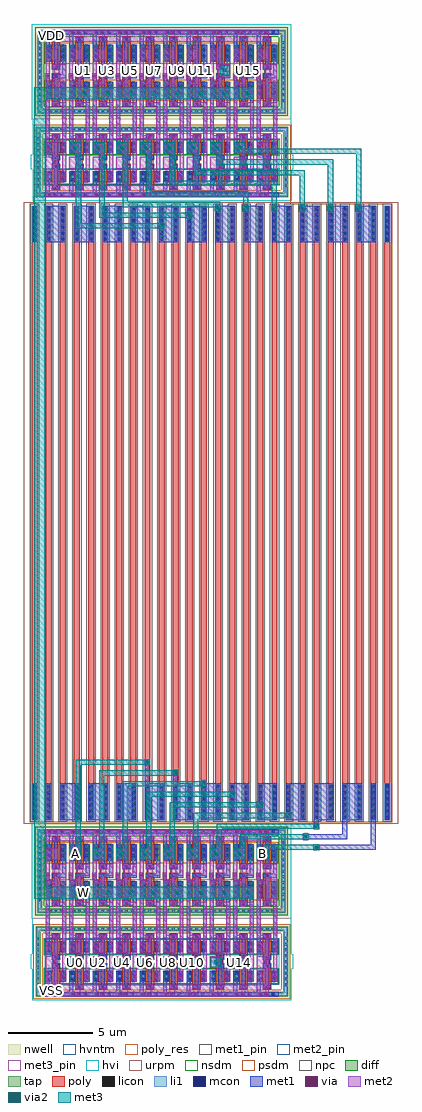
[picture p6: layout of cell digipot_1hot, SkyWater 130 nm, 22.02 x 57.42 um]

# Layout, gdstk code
import gdstk
lib = gdstk.Library(unit=1e-6, precision=1e-09)
def R(c, l, rs):  # rectangles x0, y0, x1, y1
    for r in rs: c.add(gdstk.rectangle(r[:2], r[2:], *l))
def A(c, l, x, y, w, h, nx, ny, dx, dy):  # array of equal rectangles
    R(c, l, [(x+i*dx, y+j*dy, x+i*dx+w, y+j*dy+h) for i in range(nx) for j in range(ny)])
nwell = (64, 20)
diff = (65, 20)
tap = (65, 44)
poly_res = (66, 13)
poly = (66, 20)
licon = (66, 44)
li1 = (67, 20)
mcon = (67, 44)
met1_pin = (68, 16)
met1 = (68, 20)
via = (68, 44)
met2_pin = (69, 16)
met2 = (69, 20)
via2 = (69, 44)
met3_pin = (70, 16)
met3 = (70, 20)
hvi = (75, 20)
urpm = (79, 20)
nsdm = (93, 44)
psdm = (94, 20)
npc = (95, 20)
hvntm = (125, 20)

sky130_fd_pr__res_xhigh_ = lib.new_cell('sky130_fd_pr__res_xhigh_po_0p35_EMC64D')
A(sky130_fd_pr__res_xhigh_, poly_res, -10.55, -16, 0.35, 32, 26, 1, 0.83, 0)
A(sky130_fd_pr__res_xhigh_, poly, -10.55, -18.08, 0.35, 36.16, 26, 1, 0.83, 0)
A(sky130_fd_pr__res_xhigh_, licon, -10.47, -18, 0.19, 2, 26, 2, 0.83, 34)
A(sky130_fd_pr__res_xhigh_, li1, -10.55, -18.08, 0.35, 2.16, 26, 2, 0.83, 34)
A(sky130_fd_pr__res_xhigh_, mcon, -10.46, -17.985, 0.17, 0.17, 26, 6, 0.83, 0.36)
A(sky130_fd_pr__res_xhigh_, mcon, -10.46, 16.01, 0.17, 0.17, 26, 6, 0.83, 0.36)
A(sky130_fd_pr__res_xhigh_, met1, -10.5, -18.05, 0.25, 2.105, 26, 2, 0.83, 33.995)
R(sky130_fd_pr__res_xhigh_, urpm, [(-11.01,-18.28,11.01,18.28)])
R(sky130_fd_pr__res_xhigh_, psdm, [(-10.66,-18.19,10.66,18.19)])
A(sky130_fd_pr__res_xhigh_, npc, -10.645, -18.175, 0.54, 36.35, 26, 1, 0.83, 0)

passgate = lib.new_cell('passgate')
R(passgate, met1, [(0.59,0.21,1.42,0.44), (0.59,0.44,1.28,0.47), (0.59,0.47,0.82,1.715), (1.075,0.775,1.305,1.965), (1.56,1.065,1.79,1.095), (1.47,1.095,1.79,1.685), (1.56,1.685,1.79,1.715), (0.96,1.965,1.305,2.555), (1.075,2.555,1.305,3.6), (0.59,2.805,0.82,2.835), (1.56,2.805,1.79,6.045), (0.59,2.835,0.91,3.425), (0.59,3.425,0.82,7.17), (0.96,3.6,1.42,3.86), (0.96,5.505,1.42,5.825), (1.075,5.825,1.305,7.19), (1.5,6.045,1.79,6.07), (1.47,6.07,1.79,6.66), (1.56,6.66,1.79,6.99), (0.56,7.17,0.82,7.49), (1.075,7.19,1.79,7.42), (1.56,7.42,1.79,9.17), (0.96,7.715,1.42,7.975), (1.075,7.975,1.305,9.5), (0.59,8.165,0.82,9.76), (0.59,9.76,1.28,9.79), (0.59,9.79,1.42,10.02)])
R(passgate, via, [(0.7,0.265,0.85,0.415), (1.02,0.265,1.17,0.415), (1.555,1.315,1.705,1.465), (1.045,2.185,1.195,2.335), (0.675,3.055,0.825,3.205), (1.115,3.655,1.265,3.805), (1.115,5.59,1.265,5.74), (1.555,6.29,1.705,6.44), (0.615,7.255,0.765,7.405), (1.115,7.77,1.265,7.92), (0.7,9.815,0.85,9.965), (1.02,9.815,1.17,9.965)])
R(passgate, met2_pin, [(0.59,0.21,1.28,0.9), (0.59,1.875,1.28,2.565), (0.59,2.735,1.28,3.425), (1.1,5.965,1.79,6.655), (0.59,9.33,1.28,10.02)])
R(passgate, met2, [(0.59,0.21,1.28,0.9), (1.47,1.065,1.79,1.715), (1.56,1.715,1.79,5.55), (0.59,1.875,1.28,2.565), (0.59,2.735,1.28,3.425), (0.96,3.57,1.42,3.615), (0.59,3.615,1.42,3.845), (0.59,3.845,0.82,6.8), (0.96,3.845,1.42,3.89), (0.96,5.505,1.42,5.55), (0.96,5.55,1.79,5.78), (0.96,5.78,1.42,5.825), (1.1,5.965,1.79,6.66), (0.59,6.8,1.305,7.03), (1.075,7.03,1.305,7.315), (0.56,7.17,0.82,7.49), (1.075,7.315,1.79,7.685), (0.59,7.49,0.82,8.245), (0.96,7.685,1.79,8.005), (0.59,8.245,1.28,8.935), (0.59,9.33,1.28,10.02)])
passgate.add(gdstk.Label('EN', (0.935,2.22), layer=69, texttype=5))
passgate.add(gdstk.Label('UA', (0.935,3.08), layer=69, texttype=5))
passgate.add(gdstk.Label('UB', (1.445,6.31), layer=69, texttype=5))
passgate.add(gdstk.Label('VDD', (0.935,9.675), layer=69, texttype=5))
passgate.add(gdstk.Label('VSS', (0.935,0.555), layer=69, texttype=5))

transistor_quartet_bus10 = lib.new_cell('transistor_quartet_bus10')
R(transistor_quartet_bus10, nwell, [(0,4.77,15.28,10.38)])
A(transistor_quartet_bus10, diff, 0.89, 1.065, 1.08, 0.65, 10, 2, 1.38, 1.74)
A(transistor_quartet_bus10, diff, 0.89, 5.985, 1.08, 1, 10, 2, 1.38, 2.18)
R(transistor_quartet_bus10, tap, [(0.23,0.18,15.1,0.47), (0.23,0.47,0.52,4.05), (14.81,0.47,15.1,4.05), (0.23,4.05,15.1,4.34), (0.33,5.1,14.95,5.39), (0.33,5.39,0.62,9.76), (14.66,5.39,14.95,9.76), (0.33,9.76,14.95,10.05)])
A(transistor_quartet_bus10, poly, 1.18, 0.625, 0.5, 1.53, 10, 2, 1.38, 1.74)
A(transistor_quartet_bus10, poly, 1.18, 5.5, 0.5, 1.97, 10, 2, 1.38, 2.18)
A(transistor_quartet_bus10, licon, 1.005, 0.24, 0.17, 0.17, 3, 2, 0.34, 3.87)
A(transistor_quartet_bus10, licon, 2.385, 0.24, 0.17, 0.17, 3, 2, 0.34, 3.87)
A(transistor_quartet_bus10, licon, 3.765, 0.24, 0.17, 0.17, 3, 2, 0.34, 3.87)
A(transistor_quartet_bus10, licon, 5.145, 0.24, 0.17, 0.17, 3, 2, 0.34, 3.87)
A(transistor_quartet_bus10, licon, 6.525, 0.24, 0.17, 0.17, 3, 2, 0.34, 3.87)
A(transistor_quartet_bus10, licon, 7.905, 0.24, 0.17, 0.17, 3, 2, 0.34, 3.87)
A(transistor_quartet_bus10, licon, 9.285, 0.24, 0.17, 0.17, 3, 2, 0.34, 3.87)
A(transistor_quartet_bus10, licon, 10.665, 0.24, 0.17, 0.17, 3, 2, 0.34, 3.87)
A(transistor_quartet_bus10, licon, 12.045, 0.24, 0.17, 0.17, 3, 2, 0.34, 3.87)
A(transistor_quartet_bus10, licon, 13.425, 0.24, 0.17, 0.17, 3, 2, 0.34, 3.87)
A(transistor_quartet_bus10, licon, 1.345, 0.705, 0.17, 0.17, 10, 2, 1.38, 1.2)
A(transistor_quartet_bus10, licon, 0.29, 0.815, 0.17, 0.17, 1, 9, 0, 0.34)
A(transistor_quartet_bus10, licon, 14.87, 0.815, 0.17, 0.17, 1, 9, 0, 0.34)
A(transistor_quartet_bus10, licon, 1.345, 2.445, 0.17, 0.17, 10, 2, 1.38, 1.2)
A(transistor_quartet_bus10, licon, 1.005, 5.16, 0.17, 0.17, 3, 2, 0.34, 4.66)
A(transistor_quartet_bus10, licon, 2.385, 5.16, 0.17, 0.17, 3, 2, 0.34, 4.66)
A(transistor_quartet_bus10, licon, 3.765, 5.16, 0.17, 0.17, 3, 2, 0.34, 4.66)
A(transistor_quartet_bus10, licon, 5.145, 5.16, 0.17, 0.17, 3, 2, 0.34, 4.66)
A(transistor_quartet_bus10, licon, 6.525, 5.16, 0.17, 0.17, 3, 2, 0.34, 4.66)
A(transistor_quartet_bus10, licon, 7.905, 5.16, 0.17, 0.17, 3, 2, 0.34, 4.66)
A(transistor_quartet_bus10, licon, 9.285, 5.16, 0.17, 0.17, 3, 2, 0.34, 4.66)
A(transistor_quartet_bus10, licon, 10.665, 5.16, 0.17, 0.17, 3, 2, 0.34, 4.66)
A(transistor_quartet_bus10, licon, 12.045, 5.16, 0.17, 0.17, 3, 2, 0.34, 4.66)
A(transistor_quartet_bus10, licon, 13.425, 5.16, 0.17, 0.17, 3, 2, 0.34, 4.66)
A(transistor_quartet_bus10, licon, 1.345, 5.58, 0.17, 0.17, 10, 2, 1.38, 1.64)
A(transistor_quartet_bus10, licon, 0.39, 5.79, 0.17, 0.17, 1, 11, 0, 0.34)
A(transistor_quartet_bus10, licon, 14.72, 5.79, 0.17, 0.17, 1, 11, 0, 0.34)
A(transistor_quartet_bus10, licon, 0.95, 6.06, 0.17, 0.17, 1, 3, 0, 0.34)
A(transistor_quartet_bus10, licon, 1.74, 6.06, 0.17, 0.17, 1, 3, 0, 0.34)
A(transistor_quartet_bus10, licon, 2.33, 6.06, 0.17, 0.17, 1, 3, 0, 0.34)
A(transistor_quartet_bus10, licon, 3.12, 6.06, 0.17, 0.17, 1, 3, 0, 0.34)
A(transistor_quartet_bus10, licon, 3.71, 6.06, 0.17, 0.17, 1, 3, 0, 0.34)
A(transistor_quartet_bus10, licon, 4.5, 6.06, 0.17, 0.17, 1, 3, 0, 0.34)
A(transistor_quartet_bus10, licon, 5.09, 6.06, 0.17, 0.17, 1, 3, 0, 0.34)
A(transistor_quartet_bus10, licon, 5.88, 6.06, 0.17, 0.17, 1, 3, 0, 0.34)
A(transistor_quartet_bus10, licon, 6.47, 6.06, 0.17, 0.17, 1, 3, 0, 0.34)
A(transistor_quartet_bus10, licon, 7.26, 6.06, 0.17, 0.17, 1, 3, 0, 0.34)
A(transistor_quartet_bus10, licon, 7.85, 6.06, 0.17, 0.17, 1, 3, 0, 0.34)
A(transistor_quartet_bus10, licon, 8.64, 6.06, 0.17, 0.17, 1, 3, 0, 0.34)
A(transistor_quartet_bus10, licon, 9.23, 6.06, 0.17, 0.17, 1, 3, 0, 0.34)
A(transistor_quartet_bus10, licon, 10.02, 6.06, 0.17, 0.17, 1, 3, 0, 0.34)
A(transistor_quartet_bus10, licon, 10.61, 6.06, 0.17, 0.17, 1, 3, 0, 0.34)
A(transistor_quartet_bus10, licon, 11.4, 6.06, 0.17, 0.17, 1, 3, 0, 0.34)
A(transistor_quartet_bus10, licon, 11.99, 6.06, 0.17, 0.17, 1, 3, 0, 0.34)
A(transistor_quartet_bus10, licon, 12.78, 6.06, 0.17, 0.17, 1, 3, 0, 0.34)
A(transistor_quartet_bus10, licon, 13.37, 6.06, 0.17, 0.17, 1, 3, 0, 0.34)
A(transistor_quartet_bus10, licon, 14.16, 6.06, 0.17, 0.17, 1, 3, 0, 0.34)
A(transistor_quartet_bus10, licon, 1.345, 7.76, 0.17, 0.17, 10, 2, 1.38, 1.64)
A(transistor_quartet_bus10, licon, 0.95, 8.24, 0.17, 0.17, 1, 3, 0, 0.34)
A(transistor_quartet_bus10, licon, 1.74, 8.24, 0.17, 0.17, 1, 3, 0, 0.34)
A(transistor_quartet_bus10, licon, 2.33, 8.24, 0.17, 0.17, 1, 3, 0, 0.34)
A(transistor_quartet_bus10, licon, 3.12, 8.24, 0.17, 0.17, 1, 3, 0, 0.34)
A(transistor_quartet_bus10, licon, 3.71, 8.24, 0.17, 0.17, 1, 3, 0, 0.34)
A(transistor_quartet_bus10, licon, 4.5, 8.24, 0.17, 0.17, 1, 3, 0, 0.34)
A(transistor_quartet_bus10, licon, 5.09, 8.24, 0.17, 0.17, 1, 3, 0, 0.34)
A(transistor_quartet_bus10, licon, 5.88, 8.24, 0.17, 0.17, 1, 3, 0, 0.34)
A(transistor_quartet_bus10, licon, 6.47, 8.24, 0.17, 0.17, 1, 3, 0, 0.34)
A(transistor_quartet_bus10, licon, 7.26, 8.24, 0.17, 0.17, 1, 3, 0, 0.34)
A(transistor_quartet_bus10, licon, 7.85, 8.24, 0.17, 0.17, 1, 3, 0, 0.34)
A(transistor_quartet_bus10, licon, 8.64, 8.24, 0.17, 0.17, 1, 3, 0, 0.34)
A(transistor_quartet_bus10, licon, 9.23, 8.24, 0.17, 0.17, 1, 3, 0, 0.34)
A(transistor_quartet_bus10, licon, 10.02, 8.24, 0.17, 0.17, 1, 3, 0, 0.34)
A(transistor_quartet_bus10, licon, 10.61, 8.24, 0.17, 0.17, 1, 3, 0, 0.34)
A(transistor_quartet_bus10, licon, 11.4, 8.24, 0.17, 0.17, 1, 3, 0, 0.34)
A(transistor_quartet_bus10, licon, 11.99, 8.24, 0.17, 0.17, 1, 3, 0, 0.34)
A(transistor_quartet_bus10, licon, 12.78, 8.24, 0.17, 0.17, 1, 3, 0, 0.34)
A(transistor_quartet_bus10, licon, 13.37, 8.24, 0.17, 0.17, 1, 3, 0, 0.34)
A(transistor_quartet_bus10, licon, 14.16, 8.24, 0.17, 0.17, 1, 3, 0, 0.34)
R(transistor_quartet_bus10, licon, [(0.95,1.135,1.12,1.305), (1.74,1.135,1.91,1.305), (2.33,1.135,2.5,1.305), (3.12,1.135,3.29,1.305), (3.71,1.135,3.88,1.305), (4.5,1.135,4.67,1.305), (5.09,1.135,5.26,1.305), (5.88,1.135,6.05,1.305), (6.47,1.135,6.64,1.305), (7.26,1.135,7.43,1.305), (7.85,1.135,8.02,1.305), (8.64,1.135,8.81,1.305), (9.23,1.135,9.4,1.305), (10.02,1.135,10.19,1.305), (10.61,1.135,10.78,1.305), (11.4,1.135,11.57,1.305), (11.99,1.135,12.16,1.305), (12.78,1.135,12.95,1.305), (13.37,1.135,13.54,1.305), (14.16,1.135,14.33,1.305), (0.95,1.475,1.12,1.645), (1.74,1.475,1.91,1.645), (2.33,1.475,2.5,1.645), (3.12,1.475,3.29,1.645), (3.71,1.475,3.88,1.645), (4.5,1.475,4.67,1.645), (5.09,1.475,5.26,1.645), (5.88,1.475,6.05,1.645), (6.47,1.475,6.64,1.645), (7.26,1.475,7.43,1.645), (7.85,1.475,8.02,1.645), (8.64,1.475,8.81,1.645), (9.23,1.475,9.4,1.645), (10.02,1.475,10.19,1.645), (10.61,1.475,10.78,1.645), (11.4,1.475,11.57,1.645), (11.99,1.475,12.16,1.645), (12.78,1.475,12.95,1.645), (13.37,1.475,13.54,1.645), (14.16,1.475,14.33,1.645), (0.95,2.875,1.12,3.045), (1.74,2.875,1.91,3.045), (2.33,2.875,2.5,3.045), (3.12,2.875,3.29,3.045), (3.71,2.875,3.88,3.045), (4.5,2.875,4.67,3.045), (5.09,2.875,5.26,3.045), (5.88,2.875,6.05,3.045), (6.47,2.875,6.64,3.045), (7.26,2.875,7.43,3.045), (7.85,2.875,8.02,3.045), (8.64,2.875,8.81,3.045), (9.23,2.875,9.4,3.045), (10.02,2.875,10.19,3.045), (10.61,2.875,10.78,3.045), (11.4,2.875,11.57,3.045), (11.99,2.875,12.16,3.045), (12.78,2.875,12.95,3.045), (13.37,2.875,13.54,3.045), (14.16,2.875,14.33,3.045), (0.95,3.215,1.12,3.385), (1.74,3.215,1.91,3.385), (2.33,3.215,2.5,3.385), (3.12,3.215,3.29,3.385), (3.71,3.215,3.88,3.385), (4.5,3.215,4.67,3.385), (5.09,3.215,5.26,3.385), (5.88,3.215,6.05,3.385), (6.47,3.215,6.64,3.385), (7.26,3.215,7.43,3.385), (7.85,3.215,8.02,3.385), (8.64,3.215,8.81,3.385), (9.23,3.215,9.4,3.385), (10.02,3.215,10.19,3.385), (10.61,3.215,10.78,3.385), (11.4,3.215,11.57,3.385), (11.99,3.215,12.16,3.385), (12.78,3.215,12.95,3.385), (13.37,3.215,13.54,3.385), (14.16,3.215,14.33,3.385)])
A(transistor_quartet_bus10, li1, 1.18, 0.705, 0.5, 0.17, 10, 2, 1.38, 1.2)
A(transistor_quartet_bus10, li1, 1.18, 2.445, 0.5, 0.17, 10, 2, 1.38, 1.2)
A(transistor_quartet_bus10, li1, 1.18, 5.58, 0.5, 0.17, 10, 2, 1.38, 1.64)
A(transistor_quartet_bus10, li1, 1.18, 7.76, 0.5, 0.17, 10, 2, 1.38, 1.64)
R(transistor_quartet_bus10, li1, [(0.29,0.24,15.04,0.41), (0.29,0.41,0.46,4.11), (14.87,0.41,15.04,4.11), (0.95,1.045,1.12,1.735), (1.74,1.045,1.91,1.735), (2.33,1.045,2.5,1.735), (3.12,1.045,3.29,1.735), (3.71,1.045,3.88,1.735), (4.5,1.045,4.67,1.735), (5.09,1.045,5.26,1.735), (5.88,1.045,6.05,1.735), (6.47,1.045,6.64,1.735), (7.26,1.045,7.43,1.735), (7.85,1.045,8.02,1.735), (8.64,1.045,8.81,1.735), (9.23,1.045,9.4,1.735), (10.02,1.045,10.19,1.735), (10.61,1.045,10.78,1.735), (11.4,1.045,11.57,1.735), (11.99,1.045,12.16,1.735), (12.78,1.045,12.95,1.735), (13.37,1.045,13.54,1.735), (14.16,1.045,14.33,1.735), (0.95,2.785,1.12,3.475), (1.74,2.785,1.91,3.475), (2.33,2.785,2.5,3.475), (3.12,2.785,3.29,3.475), (3.71,2.785,3.88,3.475), (4.5,2.785,4.67,3.475), (5.09,2.785,5.26,3.475), (5.88,2.785,6.05,3.475), (6.47,2.785,6.64,3.475), (7.26,2.785,7.43,3.475), (7.85,2.785,8.02,3.475), (8.64,2.785,8.81,3.475), (9.23,2.785,9.4,3.475), (10.02,2.785,10.19,3.475), (10.61,2.785,10.78,3.475), (11.4,2.785,11.57,3.475), (11.99,2.785,12.16,3.475), (12.78,2.785,12.95,3.475), (13.37,2.785,13.54,3.475), (14.16,2.785,14.33,3.475), (0.29,4.11,15.04,4.28), (0.39,5.16,14.89,5.33), (0.39,5.33,0.56,9.82), (14.72,5.33,14.89,9.82), (0.95,5.965,1.12,7.005), (1.74,5.965,1.91,7.005), (2.33,5.965,2.5,7.005), (3.12,5.965,3.29,7.005), (3.71,5.965,3.88,7.005), (4.5,5.965,4.67,7.005), (5.09,5.965,5.26,7.005), (5.88,5.965,6.05,7.005), (6.47,5.965,6.64,7.005), (7.26,5.965,7.43,7.005), (7.85,5.965,8.02,7.005), (8.64,5.965,8.81,7.005), (9.23,5.965,9.4,7.005), (10.02,5.965,10.19,7.005), (10.61,5.965,10.78,7.005), (11.4,5.965,11.57,7.005), (11.99,5.965,12.16,7.005), (12.78,5.965,12.95,7.005), (13.37,5.965,13.54,7.005), (14.16,5.965,14.33,7.005), (0.95,8.145,1.12,9.185), (1.74,8.145,1.91,9.185), (2.33,8.145,2.5,9.185), (3.12,8.145,3.29,9.185), (3.71,8.145,3.88,9.185), (4.5,8.145,4.67,9.185), (5.09,8.145,5.26,9.185), (5.88,8.145,6.05,9.185), (6.47,8.145,6.64,9.185), (7.26,8.145,7.43,9.185), (7.85,8.145,8.02,9.185), (8.64,8.145,8.81,9.185), (9.23,8.145,9.4,9.185), (10.02,8.145,10.19,9.185), (10.61,8.145,10.78,9.185), (11.4,8.145,11.57,9.185), (11.99,8.145,12.16,9.185), (12.78,8.145,12.95,9.185), (13.37,8.145,13.54,9.185), (14.16,8.145,14.33,9.185), (0.39,9.82,14.89,9.99)])
A(transistor_quartet_bus10, mcon, 0.985, 0.24, 0.17, 0.17, 3, 2, 0.36, 9.58)
A(transistor_quartet_bus10, mcon, 2.365, 0.24, 0.17, 0.17, 3, 2, 0.36, 9.58)
A(transistor_quartet_bus10, mcon, 3.745, 0.24, 0.17, 0.17, 3, 2, 0.36, 9.58)
A(transistor_quartet_bus10, mcon, 5.125, 0.24, 0.17, 0.17, 3, 2, 0.36, 9.58)
A(transistor_quartet_bus10, mcon, 6.505, 0.24, 0.17, 0.17, 3, 2, 0.36, 9.58)
A(transistor_quartet_bus10, mcon, 7.885, 0.24, 0.17, 0.17, 3, 2, 0.36, 9.58)
A(transistor_quartet_bus10, mcon, 9.265, 0.24, 0.17, 0.17, 3, 2, 0.36, 9.58)
A(transistor_quartet_bus10, mcon, 10.645, 0.24, 0.17, 0.17, 3, 2, 0.36, 9.58)
A(transistor_quartet_bus10, mcon, 12.025, 0.24, 0.17, 0.17, 3, 2, 0.36, 9.58)
A(transistor_quartet_bus10, mcon, 13.405, 0.24, 0.17, 0.17, 3, 2, 0.36, 9.58)
A(transistor_quartet_bus10, mcon, 1.345, 0.705, 0.17, 0.17, 10, 2, 1.38, 1.2)
A(transistor_quartet_bus10, mcon, 1.345, 2.445, 0.17, 0.17, 10, 2, 1.38, 1.2)
A(transistor_quartet_bus10, mcon, 1.345, 5.58, 0.17, 0.17, 10, 2, 1.38, 1.64)
A(transistor_quartet_bus10, mcon, 1.345, 7.76, 0.17, 0.17, 10, 2, 1.38, 1.64)
R(transistor_quartet_bus10, mcon, [(0.95,1.125,1.12,1.295), (1.74,1.125,1.91,1.295), (2.33,1.125,2.5,1.295), (3.12,1.125,3.29,1.295), (3.71,1.125,3.88,1.295), (4.5,1.125,4.67,1.295), (5.09,1.125,5.26,1.295), (5.88,1.125,6.05,1.295), (6.47,1.125,6.64,1.295), (7.26,1.125,7.43,1.295), (7.85,1.125,8.02,1.295), (8.64,1.125,8.81,1.295), (9.23,1.125,9.4,1.295), (10.02,1.125,10.19,1.295), (10.61,1.125,10.78,1.295), (11.4,1.125,11.57,1.295), (11.99,1.125,12.16,1.295), (12.78,1.125,12.95,1.295), (13.37,1.125,13.54,1.295), (14.16,1.125,14.33,1.295), (0.95,1.485,1.12,1.655), (1.74,1.485,1.91,1.655), (2.33,1.485,2.5,1.655), (3.12,1.485,3.29,1.655), (3.71,1.485,3.88,1.655), (4.5,1.485,4.67,1.655), (5.09,1.485,5.26,1.655), (5.88,1.485,6.05,1.655), (6.47,1.485,6.64,1.655), (7.26,1.485,7.43,1.655), (7.85,1.485,8.02,1.655), (8.64,1.485,8.81,1.655), (9.23,1.485,9.4,1.655), (10.02,1.485,10.19,1.655), (10.61,1.485,10.78,1.655), (11.4,1.485,11.57,1.655), (11.99,1.485,12.16,1.655), (12.78,1.485,12.95,1.655), (13.37,1.485,13.54,1.655), (14.16,1.485,14.33,1.655), (0.95,2.865,1.12,3.035), (1.74,2.865,1.91,3.035), (2.33,2.865,2.5,3.035), (3.12,2.865,3.29,3.035), (3.71,2.865,3.88,3.035), (4.5,2.865,4.67,3.035), (5.09,2.865,5.26,3.035), (5.88,2.865,6.05,3.035), (6.47,2.865,6.64,3.035), (7.26,2.865,7.43,3.035), (7.85,2.865,8.02,3.035), (8.64,2.865,8.81,3.035), (9.23,2.865,9.4,3.035), (10.02,2.865,10.19,3.035), (10.61,2.865,10.78,3.035), (11.4,2.865,11.57,3.035), (11.99,2.865,12.16,3.035), (12.78,2.865,12.95,3.035), (13.37,2.865,13.54,3.035), (14.16,2.865,14.33,3.035), (0.95,3.225,1.12,3.395), (1.74,3.225,1.91,3.395), (2.33,3.225,2.5,3.395), (3.12,3.225,3.29,3.395), (3.71,3.225,3.88,3.395), (4.5,3.225,4.67,3.395), (5.09,3.225,5.26,3.395), (5.88,3.225,6.05,3.395), (6.47,3.225,6.64,3.395), (7.26,3.225,7.43,3.395), (7.85,3.225,8.02,3.395), (8.64,3.225,8.81,3.395), (9.23,3.225,9.4,3.395), (10.02,3.225,10.19,3.395), (10.61,3.225,10.78,3.395), (11.4,3.225,11.57,3.395), (11.99,3.225,12.16,3.395), (12.78,3.225,12.95,3.395), (13.37,3.225,13.54,3.395), (14.16,3.225,14.33,3.395), (0.95,6.22,1.12,6.39), (1.74,6.22,1.91,6.39), (2.33,6.22,2.5,6.39), (3.12,6.22,3.29,6.39), (3.71,6.22,3.88,6.39), (4.5,6.22,4.67,6.39), (5.09,6.22,5.26,6.39), (5.88,6.22,6.05,6.39), (6.47,6.22,6.64,6.39), (7.26,6.22,7.43,6.39), (7.85,6.22,8.02,6.39), (8.64,6.22,8.81,6.39), (9.23,6.22,9.4,6.39), (10.02,6.22,10.19,6.39), (10.61,6.22,10.78,6.39), (11.4,6.22,11.57,6.39), (11.99,6.22,12.16,6.39), (12.78,6.22,12.95,6.39), (13.37,6.22,13.54,6.39), (14.16,6.22,14.33,6.39), (0.95,6.58,1.12,6.75), (1.74,6.58,1.91,6.75), (2.33,6.58,2.5,6.75), (3.12,6.58,3.29,6.75), (3.71,6.58,3.88,6.75), (4.5,6.58,4.67,6.75), (5.09,6.58,5.26,6.75), (5.88,6.58,6.05,6.75), (6.47,6.58,6.64,6.75), (7.26,6.58,7.43,6.75), (7.85,6.58,8.02,6.75), (8.64,6.58,8.81,6.75), (9.23,6.58,9.4,6.75), (10.02,6.58,10.19,6.75), (10.61,6.58,10.78,6.75), (11.4,6.58,11.57,6.75), (11.99,6.58,12.16,6.75), (12.78,6.58,12.95,6.75), (13.37,6.58,13.54,6.75), (14.16,6.58,14.33,6.75), (0.95,8.4,1.12,8.57), (1.74,8.4,1.91,8.57), (2.33,8.4,2.5,8.57), (3.12,8.4,3.29,8.57), (3.71,8.4,3.88,8.57), (4.5,8.4,4.67,8.57), (5.09,8.4,5.26,8.57), (5.88,8.4,6.05,8.57), (6.47,8.4,6.64,8.57), (7.26,8.4,7.43,8.57), (7.85,8.4,8.02,8.57), (8.64,8.4,8.81,8.57), (9.23,8.4,9.4,8.57), (10.02,8.4,10.19,8.57), (10.61,8.4,10.78,8.57), (11.4,8.4,11.57,8.57), (11.99,8.4,12.16,8.57), (12.78,8.4,12.95,8.57), (13.37,8.4,13.54,8.57), (14.16,8.4,14.33,8.57), (0.95,8.76,1.12,8.93), (1.74,8.76,1.91,8.93), (2.33,8.76,2.5,8.93), (3.12,8.76,3.29,8.93), (3.71,8.76,3.88,8.93), (4.5,8.76,4.67,8.93), (5.09,8.76,5.26,8.93), (5.88,8.76,6.05,8.93), (6.47,8.76,6.64,8.93), (7.26,8.76,7.43,8.93), (7.85,8.76,8.02,8.93), (8.64,8.76,8.81,8.93), (9.23,8.76,9.4,8.93), (10.02,8.76,10.19,8.93), (10.61,8.76,10.78,8.93), (11.4,8.76,11.57,8.93), (11.99,8.76,12.16,8.93), (12.78,8.76,12.95,8.93), (13.37,8.76,13.54,8.93), (14.16,8.76,14.33,8.93)])
R(transistor_quartet_bus10, met1_pin, [(0.74,0.18,14.54,0.47), (0.74,9.76,14.54,10.05)])
A(transistor_quartet_bus10, met1, 1.2, 0.675, 0.46, 0.23, 10, 2, 1.38, 1.2)
A(transistor_quartet_bus10, met1, 1.345, 0.905, 0.17, 0.97, 10, 2, 1.38, 1.74)
A(transistor_quartet_bus10, met1, 1.2, 2.415, 0.46, 0.23, 10, 2, 1.38, 1.2)
A(transistor_quartet_bus10, met1, 1.2, 5.55, 0.46, 0.23, 10, 2, 1.38, 1.64)
A(transistor_quartet_bus10, met1, 1.345, 5.78, 0.17, 1.41, 10, 2, 1.38, 2.18)
A(transistor_quartet_bus10, met1, 1.2, 7.73, 0.46, 0.23, 10, 2, 1.38, 1.64)
R(transistor_quartet_bus10, met1, [(0.74,0.18,14.54,0.47), (0.92,1.065,1.15,1.715), (1.71,1.065,1.94,1.715), (2.3,1.065,2.53,1.715), (3.09,1.065,3.32,1.715), (3.68,1.065,3.91,1.715), (4.47,1.065,4.7,1.715), (5.06,1.065,5.29,1.715), (5.85,1.065,6.08,1.715), (6.44,1.065,6.67,1.715), (7.23,1.065,7.46,1.715), (7.82,1.065,8.05,1.715), (8.61,1.065,8.84,1.715), (9.2,1.065,9.43,1.715), (9.99,1.065,10.22,1.715), (10.58,1.065,10.81,1.715), (11.37,1.065,11.6,1.715), (11.96,1.065,12.19,1.715), (12.75,1.065,12.98,1.715), (13.34,1.065,13.57,1.715), (14.13,1.065,14.36,1.715), (0.92,2.805,1.15,3.455), (1.71,2.805,1.94,3.455), (2.3,2.805,2.53,3.455), (3.09,2.805,3.32,3.455), (3.68,2.805,3.91,3.455), (4.47,2.805,4.7,3.455), (5.06,2.805,5.29,3.455), (5.85,2.805,6.08,3.455), (6.44,2.805,6.67,3.455), (7.23,2.805,7.46,3.455), (7.82,2.805,8.05,3.455), (8.61,2.805,8.84,3.455), (9.2,2.805,9.43,3.455), (9.99,2.805,10.22,3.455), (10.58,2.805,10.81,3.455), (11.37,2.805,11.6,3.455), (11.96,2.805,12.19,3.455), (12.75,2.805,12.98,3.455), (13.34,2.805,13.57,3.455), (14.13,2.805,14.36,3.455), (0.92,5.985,1.15,6.985), (1.71,5.985,1.94,6.985), (2.3,5.985,2.53,6.985), (3.09,5.985,3.32,6.985), (3.68,5.985,3.91,6.985), (4.47,5.985,4.7,6.985), (5.06,5.985,5.29,6.985), (5.85,5.985,6.08,6.985), (6.44,5.985,6.67,6.985), (7.23,5.985,7.46,6.985), (7.82,5.985,8.05,6.985), (8.61,5.985,8.84,6.985), (9.2,5.985,9.43,6.985), (9.99,5.985,10.22,6.985), (10.58,5.985,10.81,6.985), (11.37,5.985,11.6,6.985), (11.96,5.985,12.19,6.985), (12.75,5.985,12.98,6.985), (13.34,5.985,13.57,6.985), (14.13,5.985,14.36,6.985), (0.92,8.165,1.15,9.165), (1.71,8.165,1.94,9.165), (2.3,8.165,2.53,9.165), (3.09,8.165,3.32,9.165), (3.68,8.165,3.91,9.165), (4.47,8.165,4.7,9.165), (5.06,8.165,5.29,9.165), (5.85,8.165,6.08,9.165), (6.44,8.165,6.67,9.165), (7.23,8.165,7.46,9.165), (7.82,8.165,8.05,9.165), (8.61,8.165,8.84,9.165), (9.2,8.165,9.43,9.165), (9.99,8.165,10.22,9.165), (10.58,8.165,10.81,9.165), (11.37,8.165,11.6,9.165), (11.96,8.165,12.19,9.165), (12.75,8.165,12.98,9.165), (13.34,8.165,13.57,9.165), (14.13,8.165,14.36,9.165), (0.74,9.76,14.54,10.05)])
R(transistor_quartet_bus10, hvi, [(0.045,-0.005,15.285,1.84), (-0.045,1.84,15.375,1.9), (-0.045,1.9,0.795,2.62), (14.535,1.9,15.375,2.62), (-0.045,2.62,15.375,2.68), (0.045,2.68,15.285,4.525), (0.045,4.525,15.28,4.77), (0,4.77,15.28,10.38)])
R(transistor_quartet_bus10, nsdm, [(0.765,0.94,14.515,1.84), (0.765,2.68,14.515,3.58), (0.205,4.975,15.075,5.515), (0.205,5.515,0.745,9.635), (14.535,5.515,15.075,9.635), (0.205,9.635,15.075,10.175)])
R(transistor_quartet_bus10, psdm, [(0.105,0.055,15.225,0.595), (0.105,0.595,0.645,3.925), (14.685,0.595,15.225,3.925), (0.105,3.925,15.225,4.465), (0.765,5.86,14.515,7.11), (0.765,8.04,14.515,9.29)])
A(transistor_quartet_bus10, npc, 1.245, 0.605, 0.37, 0.37, 10, 2, 1.38, 2.94)
A(transistor_quartet_bus10, npc, 1.245, 1.805, 0.37, 0.91, 10, 2, 1.38, 5.315)
A(transistor_quartet_bus10, npc, 1.245, 5.48, 0.37, 0.37, 10, 2, 1.38, 3.82)
R(transistor_quartet_bus10, hvntm, [(0.705,0.88,14.575,1.9), (0.705,2.62,14.575,3.64)])
transistor_quartet_bus10.add(gdstk.Label('VSS', (7.64,0.325), layer=68, texttype=5))
transistor_quartet_bus10.add(gdstk.Label('VDD', (7.64,9.905), layer=68, texttype=5))

passgates = lib.new_cell('passgates')
A(passgates, met2, 2.26, 2.785, 0.59, 0.59, 8, 1, 1.38, 0)
A(passgates, met2, 2.77, 6.015, 0.59, 0.59, 8, 1, 1.38, 0)
R(passgates, met2, [(0.83,0.21,13.94,0.9), (0.83,0.9,1.52,3.425), (13.25,0.9,13.94,3.425), (1.34,5.965,2.03,8.005), (13.76,5.965,14.45,8.005), (0.83,9.33,13.94,10.02)])
A(passgates, via2, 2.965, 6.21, 0.2, 0.2, 8, 1, 1.38, 0)
A(passgates, met3, 3.11, 5.96, 0.3, 0.005, 8, 1, 1.38, 0)
R(passgates, met3, [(2.72,5.965,13.07,6.655)])
passgates.add(gdstk.Reference(passgate, (1.62,0)))
passgates.add(gdstk.Reference(passgate, (3,0)))
passgates.add(gdstk.Reference(passgate, (4.38,0)))
passgates.add(gdstk.Reference(passgate, (5.76,0)))
passgates.add(gdstk.Reference(passgate, (0.24,0)))
passgates.add(gdstk.Reference(passgate, (7.14,0)))
passgates.add(gdstk.Reference(passgate, (8.52,0)))
passgates.add(gdstk.Reference(passgate, (9.9,0)))
passgates.add(gdstk.Reference(passgate, (11.28,0)))
passgates.add(gdstk.Reference(passgate, (12.66,0)))
passgates.add(gdstk.Reference(transistor_quartet_bus10, (0,0)))

digipot_1hot = lib.new_cell('digipot_1hot')
A(digipot_1hot, met1, 2.21, 10.575, 1.18, 2.16, 11, 1, 1.66, 0)
A(digipot_1hot, met1, 1.38, 44.575, 1.18, 2.16, 12, 1, 1.66, 0)
A(digipot_1hot, met1, 11.34, 46.735, 0.3, 0.03, 6, 1, 1.66, 0)
R(digipot_1hot, met1, [(17.15,8.795,17.45,8.825), (17.12,8.825,20.795,9.125), (17.15,9.125,17.45,9.155), (20.495,9.125,20.795,12.735), (16.52,9.42,16.82,9.45), (16.49,9.45,19.11,9.75), (16.52,9.75,16.82,9.78), (18.81,9.75,19.11,10.575), (17.15,10.045,17.45,10.575), (1.38,10.575,1.73,12.735), (7.19,12.735,7.49,14.155), (8.85,12.735,9.15,13.53), (10.51,12.735,10.81,12.905)])
A(digipot_1hot, via, 11.415, 46.51, 0.15, 0.15, 6, 1, 1.66, 0)
R(digipot_1hot, via, [(17.225,8.9,17.375,9.05), (16.595,9.525,16.745,9.675), (17.225,10.15,17.375,10.3), (15.565,10.775,15.715,10.925), (13.905,11.4,14.055,11.55), (12.245,12.025,12.395,12.175), (10.585,12.65,10.735,12.8), (8.925,13.275,9.075,13.425), (7.265,13.9,7.415,14.05), (8.095,45.47,8.245,45.62), (9.755,46.095,9.905,46.245)])
R(digipot_1hot, met2_pin, [(1.38,0.21,2.07,0.9), (1.385,56.365,2.075,57.055)])
A(digipot_1hot, met2, 4.19, 1.925, 0.59, 0.59, 7, 2, 1.38, 6.37)
A(digipot_1hot, met2, 11.34, 46.39, 0.3, 0.045, 6, 2, 1.66, 0.345)
A(digipot_1hot, met2, 11.31, 46.435, 0.36, 0.3, 6, 1, 1.66, 0)
A(digipot_1hot, met2, 2.815, 49.82, 0.59, 0.59, 8, 1, 1.38, 0)
A(digipot_1hot, met2, 3.325, 54.4, 0.59, 0.59, 8, 1, 1.38, 0)
R(digipot_1hot, met2, [(1.38,0.21,2.07,0.9), (2.76,1.875,3.45,2.565), (2.81,2.785,3.4,3.375), (2.81,8.3,3.4,8.89), (17.15,8.795,17.45,8.825), (17.105,8.825,17.495,9.125), (17.15,9.125,17.45,9.155), (16.52,9.405,16.82,9.45), (16.49,9.45,16.85,9.75), (16.52,9.75,16.82,9.795), (17.15,10.03,17.45,10.075), (17.12,10.075,17.48,10.375), (17.15,10.375,17.45,10.42), (15.49,10.655,15.79,10.7), (15.46,10.7,15.82,11), (15.49,11,15.79,11.045), (13.83,11.28,14.13,11.325), (13.8,11.325,14.16,11.625), (13.83,11.625,14.13,11.67), (12.17,11.905,12.47,12.295), (10.51,12.53,10.81,12.575), (10.48,12.575,10.84,12.875), (10.51,12.875,10.81,12.92), (8.85,13.155,9.15,13.2), (8.82,13.2,9.18,13.5), (8.85,13.5,9.15,13.545), (7.19,13.78,7.49,13.825), (7.16,13.825,7.52,14.125), (7.19,14.125,7.49,14.17), (8.02,45.35,8.32,45.395), (7.99,45.395,8.35,45.695), (8.02,45.695,8.32,45.74), (9.68,45.975,9.98,46.02), (9.65,46.02,10.01,46.32), (9.68,46.32,9.98,46.365), (1.385,56.365,2.075,57.055)])
A(digipot_1hot, via2, 3.005, 2.12, 0.2, 0.2, 8, 1, 1.38, 0)
A(digipot_1hot, via2, 4.385, 8.49, 0.2, 0.2, 7, 1, 1.38, 0)
A(digipot_1hot, via2, 11.39, 46.485, 0.2, 0.2, 6, 1, 1.66, 0)
A(digipot_1hot, via2, 3.01, 50.015, 0.2, 0.2, 8, 1, 1.38, 0)
A(digipot_1hot, via2, 3.52, 54.595, 0.2, 0.2, 8, 1, 1.38, 0)
R(digipot_1hot, via2, [(3.005,8.495,3.205,8.695), (17.2,8.875,17.4,9.075), (16.57,9.5,16.77,9.7), (17.2,10.125,17.4,10.325), (15.54,10.75,15.74,10.95), (13.88,11.375,14.08,11.575), (12.22,12,12.42,12.2), (10.56,12.625,10.76,12.825), (8.9,13.25,9.1,13.45), (7.24,13.875,7.44,14.075), (8.07,45.445,8.27,45.645), (9.73,46.07,9.93,46.27)])
A(digipot_1hot, met3_pin, 2.81, 1.925, 0.59, 0.59, 8, 1, 1.38, 0)
A(digipot_1hot, met3_pin, 3.325, 54.4, 0.59, 0.59, 8, 1, 1.38, 0)
R(digipot_1hot, met3_pin, [(3.27,5.965,3.96,6.655), (13.8,8.245,14.49,8.935), (2.76,8.25,3.45,8.94)])
A(digipot_1hot, met3, 2.81, 1.925, 0.59, 0.59, 8, 1, 1.38, 0)
A(digipot_1hot, met3, 4.14, 8.245, 0.69, 0.69, 7, 1, 1.38, 0)
A(digipot_1hot, met3, 12.975, 46.41, 0.35, 0.35, 5, 1, 1.66, 0)
A(digipot_1hot, met3, 2.765, 49.77, 0.69, 0.69, 7, 1, 1.38, 0)
A(digipot_1hot, met3, 3.325, 54.4, 0.59, 0.59, 8, 1, 1.38, 0)
R(digipot_1hot, met3, [(0.69,5.965,3.96,6.655), (0.69,6.655,1.38,53), (13.8,8.245,14.49,8.825), (2.76,8.25,3.45,8.94), (17.125,8.8,17.475,8.825), (13.8,8.825,17.475,8.935), (4.53,8.935,4.83,13.2), (5.91,8.935,6.21,12.575), (7.29,8.935,7.59,11.95), (8.67,8.935,8.97,11.325), (10.05,8.935,10.35,10.7), (11.43,8.935,11.73,10.075), (12.81,8.935,13.11,9.45), (14.19,8.935,17.475,9.125), (3.15,8.94,3.45,13.825), (17.125,9.125,17.475,9.15), (16.495,9.425,16.845,9.45), (12.81,9.45,16.845,9.75), (16.495,9.75,16.845,9.775), (17.125,10.05,17.475,10.075), (11.43,10.075,17.475,10.375), (17.125,10.375,17.475,10.4), (15.465,10.675,15.815,10.7), (10.05,10.7,15.815,11), (15.465,11,15.815,11.025), (13.805,11.3,14.155,11.325), (8.67,11.325,14.155,11.625), (13.805,11.625,14.155,11.65), (12.145,11.925,12.495,11.95), (7.29,11.95,12.495,12.25), (12.145,12.25,12.495,12.275), (10.485,12.55,10.835,12.575), (5.91,12.575,10.835,12.875), (10.485,12.875,10.835,12.9), (8.825,13.175,9.175,13.2), (4.53,13.2,9.175,13.5), (8.825,13.5,9.175,13.525), (7.165,13.8,7.515,13.825), (3.15,13.825,7.515,14.125), (7.165,14.125,7.515,14.15), (7.995,45.37,8.345,45.395), (3.155,45.395,8.345,45.695), (3.155,45.695,3.455,49.77), (7.995,45.695,8.345,45.72), (9.655,45.995,10.005,46.02), (4.535,46.02,10.005,46.32), (4.535,46.32,4.835,49.77), (9.655,46.32,10.005,46.345), (11.315,46.41,11.665,46.645), (5.915,46.645,11.665,46.76), (5.915,46.76,11.64,46.945), (13,46.76,13.3,47.27), (14.66,46.76,14.96,47.895), (16.32,46.76,16.62,48.52), (17.98,46.76,18.28,49.145), (19.64,46.76,19.94,49.77), (5.915,46.945,6.215,49.77), (7.295,47.27,13.3,47.57), (7.295,47.57,7.595,49.77), (8.675,47.895,14.96,48.195), (8.675,48.195,8.975,49.77), (10.055,48.52,16.62,48.82), (10.055,48.82,10.355,49.77), (11.435,49.145,18.28,49.445), (11.435,49.445,11.735,49.77), (12.425,49.77,19.94,50.07), (12.425,50.07,13.115,50.46), (0.69,53,3.965,53.69)])
R(digipot_1hot, psdm, [(0.645,46.845,15.78,47.09), (0.645,47.09,0.66,47.2)])
digipot_1hot.add(gdstk.Reference(sky130_fd_pr__res_xhigh_, (11.1,28.655)))
digipot_1hot.add(gdstk.Reference(passgates, (0.55,0)))
digipot_1hot.add(gdstk.Reference(passgates, (0.555,47.035)))
digipot_1hot.add(gdstk.Label('A', (3.105,8.595), layer=70, texttype=5))
digipot_1hot.add(gdstk.Label('B', (14.145,8.59), layer=70, texttype=5))
digipot_1hot.add(gdstk.Label('U0', (3.105,2.22), layer=70, texttype=5))
digipot_1hot.add(gdstk.Label('U1', (3.62,54.695), layer=70, texttype=5))
digipot_1hot.add(gdstk.Label('U2', (4.485,2.22), layer=70, texttype=5))
digipot_1hot.add(gdstk.Label('U3', (5,54.695), layer=70, texttype=5))
digipot_1hot.add(gdstk.Label('U4', (5.865,2.22), layer=70, texttype=5))
digipot_1hot.add(gdstk.Label('U5', (6.38,54.695), layer=70, texttype=5))
digipot_1hot.add(gdstk.Label('U6', (7.245,2.22), layer=70, texttype=5))
digipot_1hot.add(gdstk.Label('U7', (7.76,54.695), layer=70, texttype=5))
digipot_1hot.add(gdstk.Label('U8', (8.625,2.22), layer=70, texttype=5))
digipot_1hot.add(gdstk.Label('U9', (9.14,54.695), layer=70, texttype=5))
digipot_1hot.add(gdstk.Label('U10', (10.005,2.22), layer=70, texttype=5))
digipot_1hot.add(gdstk.Label('U11', (10.52,54.695), layer=70, texttype=5))
digipot_1hot.add(gdstk.Label('U12', (11.385,2.22), layer=70, texttype=5))
digipot_1hot.add(gdstk.Label('U13', (11.9,54.695), layer=70, texttype=5))
digipot_1hot.add(gdstk.Label('U14', (12.765,2.22), layer=70, texttype=5))
digipot_1hot.add(gdstk.Label('U15', (13.28,54.695), layer=70, texttype=5))
digipot_1hot.add(gdstk.Label('VDD', (1.73,56.71), layer=69, texttype=5))
digipot_1hot.add(gdstk.Label('VSS', (1.725,0.555), layer=69, texttype=5))
digipot_1hot.add(gdstk.Label('W', (3.615,6.31), layer=70, texttype=5))

lib.write_gds('digipot_1hot.gds')
